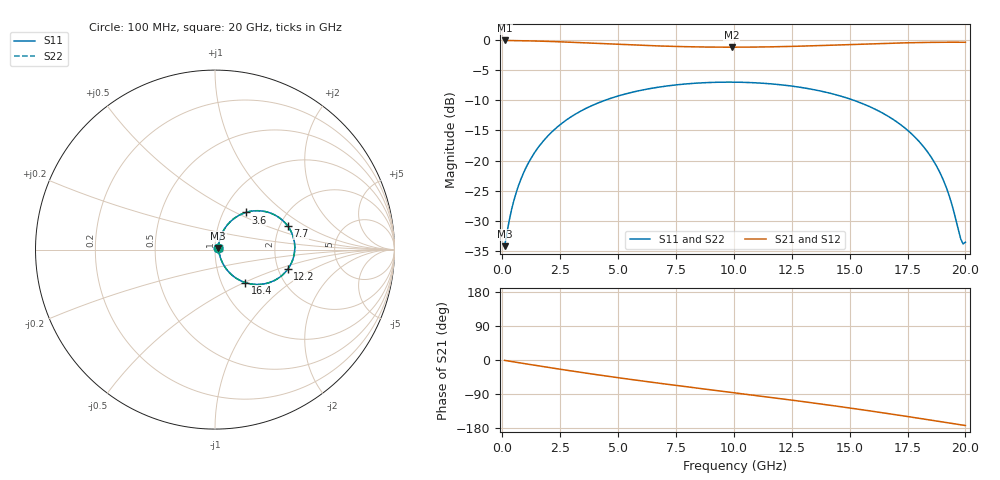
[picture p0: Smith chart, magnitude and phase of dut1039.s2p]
! Touchstone file exported from HFSS 2026.1.0
!  File:  C:/ffzhzh/LocalFiles/Ansys_Project_Files/temp_train_TSV_RDL_1039_1783295228_39728.aedt
!  Generated:  08:02:01 AM Jul  6, 2026
!  Design:  TSV_RDL
!  Project:  temp_train_TSV_RDL_1039_1783295228_39728
! Variables:
!  h_bsmrdl = 3.92um
!  h_ox = 20um
!  h_rdl = 5um
!  h_sub = 99.14um
!  h_tmrdl = 5.78um
!  h_tsv = 99.14um
!  h_via = 3um
!  l_bsmrdl = 360.97um
!  l_sub = 2616.82um
!  l_tmrdl = 258.42um
!  m_sub = 200um
!  pitch = 33.83um
!  r_tsv = 3.31um
!  s_tmrdl = 10um
!  w_bsmrdl = 22.55um
!  w_sub = 500um
!  w_tmrdl = 10.86um
!  x_tsv_center1 = 263.85um
!  x_tsv_center2 = 647.37um
!  x_tsv_center3 = 916.65um
!  x_tsv_center4 = 1300.17um
!  x_tsv_center5 = 1569.45um
!  x_tsv_center6 = 1952.97um
# GHz S MA R 50.000000
! Terminal data exported
! Port[1] = TM_RDL1_1_T1
! Port[2] = TM_RDL5_1_T1
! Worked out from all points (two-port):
!   200 points, 100 MHz to 20 GHz, reference 50 ohm
!   highest |S21| = -0.15 dB at 100 MHz (marker M1); lowest = -1.3 dB at 9.9 GHz (marker M2)
!   |S21| within 3 dB of the highest: start of sweep to end of sweep
!   lowest |S11| = -34.1 dB at 100 MHz (marker M3), VSWR 1.04, Z = 51.8 + j0.906 ohm
!   |S11| at or under -10 dB: start of sweep to 4.46 GHz; 15.15 GHz to end of sweep
!   |S22| runs from -34.1 to -7.0 dB; largest |S21 - S12| = 1.7e-14
!   S11 on the Smith chart (normalised r, x): 100 MHz: 1.04, +0.02; 3.6 GHz: 1.27, +0.57; 7.7 GHz: 2.20, +0.71; 12.2 GHz: 2.25, -0.60; 16.4 GHz: 1.29, -0.51; 20 GHz: 1.04, +0.02
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0.1  0.01967 26.4  0.9825 -1.0  0.9825 -1.0  0.01967 26.4
! Gamma 0 0 0 0
! Port Impedance 50 0 50 0
0.4  0.03935 57.4  0.9806 -4.0  0.9806 -4.0  0.03935 57.4
0.6  0.05446 63.1  0.9793 -6.0  0.9793 -6.0  0.05447 63.1
1.2  0.1013 66.5  0.9746 -11.9  0.9746 -11.9  0.1013 66.5
2.2  0.1769 61.3  0.9622 -21.5  0.9622 -21.5  0.1769 61.3
3.5  0.2633 51.1  0.9399 -33.6  0.9399 -33.6  0.2633 51.1
3.6  0.2693 50.2  0.9381 -34.5  0.9381 -34.5  0.2693 50.2
5  0.3418 38.9  0.9123 -46.7  0.9123 -46.7  0.3418 38.9
6.8  0.4056 24.8  0.8845 -61.5  0.8845 -61.5  0.4056 24.8
7.7  0.4259 18.0  0.8747 -68.6  0.8747 -68.6  0.4259 18.0
9.9  0.4448 1.8  0.8645 -85.6  0.8645 -85.6  0.4448 1.8
10.1  0.4445 0.3  0.8646 -87.1  0.8646 -87.1  0.4445 0.3
12.2  0.4195 -15.2  0.8749 -103.4  0.8749 -103.4  0.4195 -15.2
13.4  0.3874 -24.3  0.8875 -113.1  0.8875 -113.1  0.3874 -24.3
16.4  0.2485 -47.6  0.9278 -139.0  0.9278 -139.0  0.2485 -47.6
16.7  0.2302 -49.9  0.9315 -141.7  0.9315 -141.7  0.2302 -49.9
17.8  0.1578 -57.4  0.9428 -151.9  0.9428 -151.9  0.1578 -57.5
18.6  0.1012 -60.6  0.948 -159.5  0.948 -159.5  0.1012 -60.6
19.2  0.05828 -57.2  0.9499 -165.3  0.9499 -165.3  0.05823 -57.3
19.8  0.02251 -18.1  0.9498 -171.0  0.9498 -171.0  0.0224 -18.1
19.9  0.02053 0.5  0.9496 -172.0  0.9496 -172.0  0.02042 0.5
20  0.02122 20.3  0.9494 -172.9  0.9494 -172.9  0.02112 20.4
